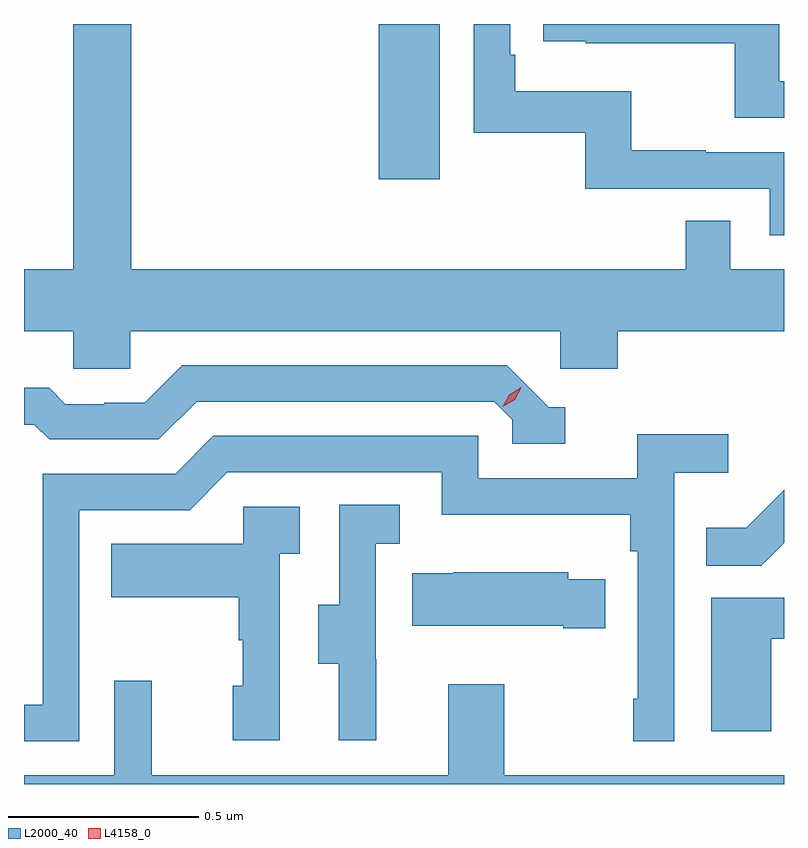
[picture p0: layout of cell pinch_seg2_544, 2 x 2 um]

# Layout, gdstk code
import gdstk
lib = gdstk.Library(unit=1e-6, precision=1e-09)
def R(c, l, rs):  # rectangles x0, y0, x1, y1
    for r in rs: c.add(gdstk.rectangle(r[:2], r[2:], *l))
def P(c, l, *ps):  # polygons
    for p in ps: c.add(gdstk.Polygon(p, *l))
L2000_40 = (2000, 40)
L4158_0 = (4158, 0)

pinch_seg2_544 = lib.new_cell('pinch_seg2_544')
R(pinch_seg2_544, L2000_40, [(1117.958,613.404,1118.119,613.813)])
P(pinch_seg2_544, L2000_40, [(1117.305,613.004),(1118.436,613.004),(1118.436,612.906),(1118.588,612.906),(1118.588,613.004),(1119.025,613.004),(1119.025,613.168),(1118.883,613.168),(1118.883,613.295),(1118.767,613.295),(1118.767,613.168),(1117.307,613.168),(1117.307,613.813),(1117.154,613.813),(1117.154,613.168),(1117.025,613.168),(1117.025,613.004),(1117.155,613.004),(1117.155,612.906),(1117.305,612.906)],
  [(1119.025,613.476),(1118.819,613.476),(1118.819,613.481),(1118.623,613.481),(1118.623,613.636),(1118.318,613.636),(1118.318,613.732),(1118.304,613.732),(1118.304,613.813),(1118.208,613.813),(1118.208,613.527),(1118.502,613.527),(1118.502,613.38),(1118.988,613.38),(1118.988,613.257),(1119.025,613.257)],
  [(1119.025,613.662),(1119.012,613.662),(1119.012,613.813),(1118.391,613.813),(1118.391,613.767),(1118.503,613.767),(1118.503,613.762),(1118.896,613.762),(1118.896,613.566),(1119.025,613.566)],
  [(1118.449,612.804),(1118.406,612.804),(1118.295,612.915),(1117.442,612.915),(1117.343,612.816),(1117.236,612.816),(1117.236,612.813),(1117.133,612.813),(1117.091,612.856),(1117.025,612.856),(1117.025,612.759),(1117.052,612.759),(1117.091,612.72),(1117.38,612.72),(1117.479,612.819),(1118.262,612.819),(1118.31,612.771),(1118.31,612.708),(1118.449,612.708)],
  [(1117.17,612.534),(1117.461,612.534),(1117.56,612.633),(1118.124,612.633),(1118.124,612.521),(1118.62,612.521),(1118.62,612.425),(1118.64,612.425),(1118.64,612.037),(1118.628,612.037),(1118.628,611.925),(1118.736,611.925),(1118.736,612.632),(1118.878,612.632),(1118.878,612.734),(1118.639,612.734),(1118.639,612.618),(1118.22,612.618),(1118.22,612.729),(1117.523,612.729),(1117.424,612.63),(1117.074,612.63),(1117.074,612.021),(1117.025,612.021),(1117.025,611.925),(1117.17,611.925)],
  [(1119.025,612.448),(1119.025,612.587),(1118.925,612.487),(1118.821,612.487),(1118.821,612.388),(1118.965,612.388)],
  [(1117.952,612.141),(1117.95,612.141),(1117.95,612.445),(1118.014,612.445),(1118.014,612.548),(1117.854,612.548),(1117.854,612.285),(1117.799,612.285),(1117.799,612.13),(1117.853,612.13),(1117.853,611.928),(1117.952,611.928)],
  [(1117.698,612.419),(1117.75,612.419),(1117.75,612.543),(1117.602,612.543),(1117.602,612.445),(1117.255,612.445),(1117.255,612.305),(1117.59,612.305),(1117.59,612.191),(1117.6,612.191),(1117.6,612.072),(1117.574,612.072),(1117.574,611.928),(1117.698,611.928)],
  [(1118.555,612.352),(1118.457,612.352),(1118.457,612.37),(1118.155,612.37),(1118.155,612.367),(1118.047,612.367),(1118.047,612.23),(1118.444,612.23),(1118.444,612.223),(1118.555,612.223)],
  [(1118.992,612.195),(1119.025,612.195),(1119.025,612.303),(1118.834,612.303),(1118.834,611.952),(1118.992,611.952)],
  [(1119.025,611.836),(1118.289,611.836),(1118.289,612.076),(1118.141,612.076),(1118.141,611.836),(1117.361,611.836),(1117.361,612.085),(1117.263,612.085),(1117.263,611.836),(1117.025,611.836),(1117.025,611.813),(1119.025,611.813)])
P(pinch_seg2_544, L4158_0, [(1118.285,612.806),(1118.285,612.806),(1118.302,612.838),(1118.333,612.857),(1118.334,612.857),(1118.334,612.856),(1118.317,612.824),(1118.285,612.806)])

lib.write_gds('pinch_seg2_544.gds')
